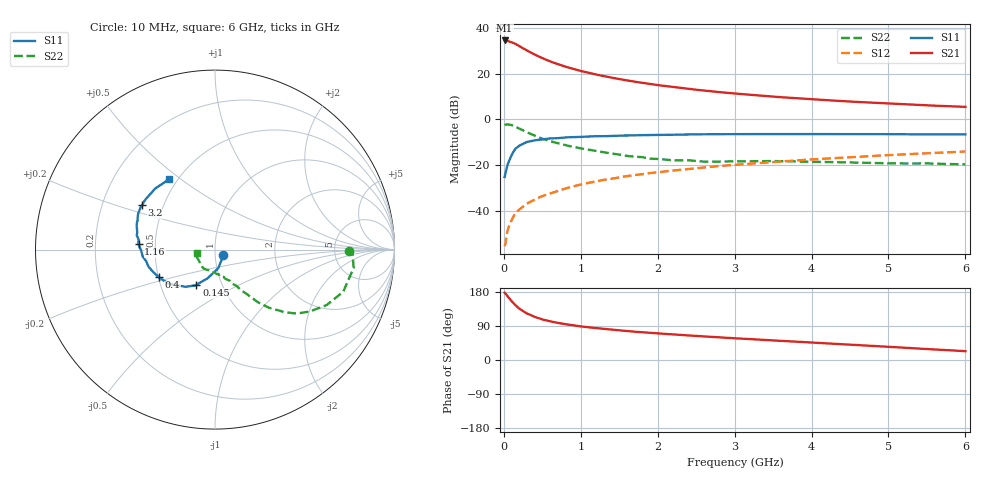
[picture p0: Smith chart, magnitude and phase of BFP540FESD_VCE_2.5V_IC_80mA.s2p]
! Infineon Technologies  Discrete & RF Semiconductors
! BFP540FESD
! VCE =  2.5 V,  IC =  80 mA
! Common Emitter S-Parameters:  Nov 2015
# GHz  S  MA  R  50
!  f  S11  S21  S12  S22
! GHz  MAG  ANG  MAG  ANG  MAG  ANG  MAG  ANG
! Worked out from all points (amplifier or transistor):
!   210 points, 10 MHz to 6 GHz, reference 50 ohm
!   highest |S21| = 34.5 dB at 10 MHz (marker M1)
!   |S21| within 3 dB of that: start of sweep to 228 MHz
!   unconditionally stable (mu >= 1): start of sweep to 52.14 MHz; 712.3 MHz to end of sweep
!   at 185 MHz: K = 0.69, MSG = 36.1 dB, |S12| = -39.8 dB
!   at 1.52 GHz: K = 1.11, MAG = 19.4 dB, |S12| = -25.2 dB
!   at 6 GHz: K = 1.23, MAG = 6.8 dB, |S12| = -14.0 dB
!   S11 on the Smith chart (normalised r, x): 10 MHz: 1.09, -0.07; 145 MHz: 0.76, -0.31; 400 MHz: 0.50, -0.18; 1.16 GHz: 0.40, +0.03; 3.2 GHz: 0.38, +0.24; 6 GHz: 0.45, +0.46
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0.01  0.0553 -36.4  52.9 177.7  0.0017 122.6  0.748 -0.7
0.02  0.0665 -55.2  51.7 175.6  0.0019 100.4  0.7649 -0.3
0.05  0.1052 -80.1  51.68 167.9  0.0038 80.9  0.7791 -7.5
0.1  0.1657 -104.6  48.61 155.3  0.0062 79.9  0.7522 -18.2
0.145  0.2216 -117.9  44.95 145.9  0.0086 77.8  0.6998 -25.5
0.15  0.2283 -119.0  44.62 144.8  0.0089 77.6  0.6947 -26.4
0.2  0.265 -128.6  39.92 135.7  0.0107 73.0  0.6305 -33.2
0.26  0.2984 -138.8  34.87 127.6  0.0128 72.8  0.5636 -39.0
0.3  0.3211 -143.8  31.94 122.6  0.0144 73.7  0.5218 -41.9
0.4  0.3486 -153.7  25.96 113.7  0.0177 70.8  0.4407 -47.2
0.5  0.3673 -160.5  21.7 107.0  0.0211 72.8  0.3771 -50.9
0.6  0.3826 -165.6  18.45 102.1  0.024 71.5  0.3335 -52.8
0.8  0.4043 -174.4  14.16 94.4  0.0307 71.3  0.2722 -57.1
1.02  0.4157 179.3  11.21 88.3  0.0383 71.3  0.2299 -60.1
1.16  0.4264 175.9  9.869 85.0  0.0428 70.6  0.2095 -63.3
1.5  0.4434 169.8  7.578 78.2  0.0541 69.1  0.1704 -71.0
2.02  0.4602 161.0  5.552 69.9  0.0705 65.8  0.1362 -86.3
3.1  0.4764 149.6  3.556 56.3  0.1045 59.1  0.1214 -114.2
3.2  0.4766 148.7  3.447 55.2  0.1076 58.3  0.1216 -115.9
4.1  0.4763 142.1  2.686 45.0  0.1364 52.5  0.1177 -130.5
5.1  0.4745 133.3  2.181 33.6  0.1688 44.4  0.1089 -146.0
6  0.4707 122.7  1.874 23.3  0.1987 36.7  0.104 -168.4
